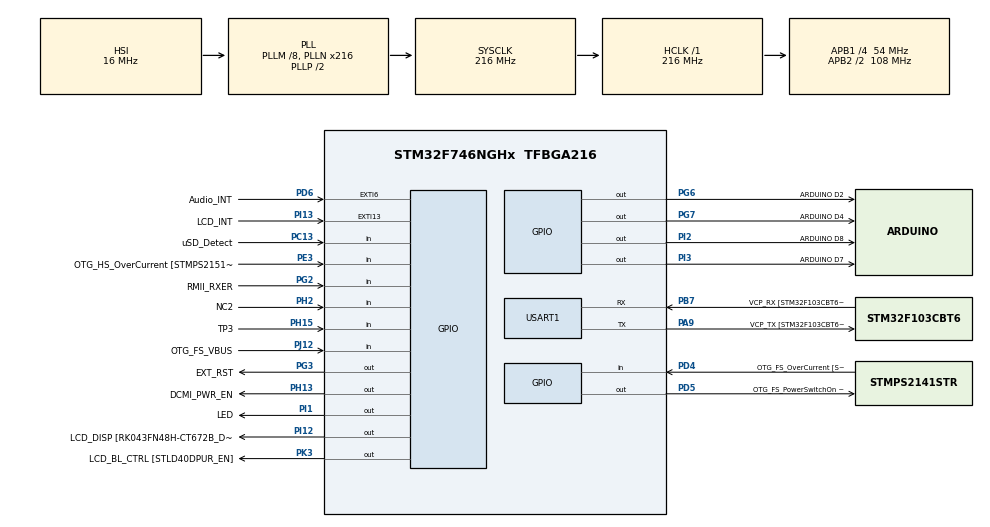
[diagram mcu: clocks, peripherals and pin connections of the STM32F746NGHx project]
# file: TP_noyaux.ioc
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FREERTOS.Tasks01=defaultTask,0,128,StartDefaultTask,Default,NULL,Dynamic,NULL,NULL
Mcu.Family=STM32F7
Mcu.Name=STM32F746NGHx
Mcu.Package=TFBGA216
NVIC.PriorityGroup=NVIC_PRIORITYGROUP_4
PA0/WKUP.GPIO_Label=ARDUINO A0
PA0/WKUP.GPIO_Mode=GPIO_MODE_ANALOG
PA0/WKUP.GPIO_PuPd=GPIO_NOPULL
PA0/WKUP.Signal=ADCx_IN0
PA1.GPIO_Label=RMII_REF_CLK [LAN8742A-CZ-TR_REFCLK0]
PA1.Signal=ETH_REF_CLK
PA10.GPIO_Label=OTG_FS_ID
PA10.Signal=USB_OTG_FS_ID
PA11.GPIO_Label=OTG_FS_N
PA11.Signal=USB_OTG_FS_DM
PA12.GPIO_Label=OTG_FS_P
PA12.Signal=USB_OTG_FS_DP
PA13.GPIO_Label=SWDIO
PA13.Mode=Serial_Wire
PA13.Signal=SYS_JTMS-SWDIO
PA14.GPIO_Label=SWCLK
PA14.Mode=Serial_Wire
PA14.Signal=SYS_JTCK-SWCLK
PA15.GPIO_Label=ARDUINO PWM/D9
PA15.GPIO_ModeDefaultPP=GPIO_MODE_AF_PP
PA15.GPIO_PuPd=GPIO_NOPULL
PA15.GPIO_Speed=GPIO_SPEED_FREQ_LOW
PA15.Signal=S_TIM2_CH1_ETR
PA2.GPIO_Label=RMII_MDIO [LAN8742A-CZ-TR_MDIO]
PA2.Signal=ETH_MDIO
PA3.GPIO_Label=ULPI_D0 [USB3320C-EZK_D0]
PA3.Signal=USB_OTG_HS_ULPI_D0
PA4.GPIO_Label=DCMI_HSYNC
PA4.Signal=DCMI_HSYNC
PA5.GPIO_Label=ULPI_CLK [USB3320C-EZK_CLKOUT]
PA5.Signal=USB_OTG_HS_ULPI_CK
PA6.Signal=DCMI_PIXCLK
PA7.GPIO_Label=RMII_CRS_DV [LAN8742A-CZ-TR_CRS_DV]
PA7.Signal=ETH_CRS_DV
PA8.GPIO_Label=ARDUINO PWM/D10
PA8.GPIO_ModeDefaultPP=GPIO_MODE_AF_PP
PA8.GPIO_PuPd=GPIO_NOPULL
PA8.GPIO_Speed=GPIO_SPEED_FREQ_LOW
PA8.Signal=S_TIM1_CH1
PA9.GPIO_Label=VCP_TX [STM32F103CBT6_PA3]
PA9.GPIO_Mode=GPIO_MODE_AF_PP
PA9.GPIO_PuPd=GPIO_NOPULL
PA9.GPIO_Speed=GPIO_SPEED_FREQ_LOW
PA9.Mode=Asynchronous
PA9.Signal=USART1_TX
PB0.GPIO_Label=ULPI_D1 [USB3320C-EZK_D1]
PB0.Signal=USB_OTG_HS_ULPI_D1
PB1.GPIO_Label=ULPI_D2 [USB3320C-EZK_D2]
PB1.Signal=USB_OTG_HS_ULPI_D2
PB10.GPIO_Label=ULPI_D3 [USB3320C-EZK_D3]
PB10.Signal=USB_OTG_HS_ULPI_D3
PB11.GPIO_Label=ULPI_D4 [USB3320C-EZK_D4]
PB11.Signal=USB_OTG_HS_ULPI_D4
PB12.GPIO_Label=ULPI_D5 [USB3320C-EZK_D5]
PB12.Signal=USB_OTG_HS_ULPI_D5
PB13.GPIO_Label=ULPI_D6 [USB3320C-EZK_D6]
PB13.Signal=USB_OTG_HS_ULPI_D6
PB14.GPIO_Label=ARDUINO MISO/D12
PB14.GPIO_Mode=GPIO_MODE_AF_PP
PB14.GPIO_PuPd=GPIO_NOPULL
PB14.GPIO_Speed=GPIO_SPEED_FREQ_LOW
PB14.Signal=SPI2_MISO
PB15.GPIO_Label=ARDUINO MOSI/PWM/D11
PB15.GPIO_Mode=GPIO_MODE_AF_PP
PB15.GPIO_PuPd=GPIO_NOPULL
PB15.GPIO_Speed=GPIO_SPEED_FREQ_LOW
PB15.Signal=SPI2_MOSI
PB2.Signal=QUADSPI_CLK
PB3.GPIO_Label=SWO
PB3.Signal=SYS_JTDO-SWO
PB4.GPIO_Label=ARDUINO PWM/D3
PB4.GPIO_ModeDefaultPP=GPIO_MODE_AF_PP
PB4.GPIO_PuPd=GPIO_NOPULL
PB4.GPIO_Speed=GPIO_SPEED_FREQ_LOW
PB4.Signal=S_TIM3_CH1
PB5.GPIO_Label=ULPI_D7 [USB3320C-EZK_D7]
PB5.Signal=USB_OTG_HS_ULPI_D7
PB6.GPIO_Label=QSPI_NCS [N25Q128A13EF840E_S]
PB6.Signal=QUADSPI_BK1_NCS
PB7.GPIO_Label=VCP_RX [STM32F103CBT6_PA2]
PB7.GPIO_Mode=GPIO_MODE_AF_PP
PB7.GPIO_PuPd=GPIO_NOPULL
PB7.GPIO_Speed=GPIO_SPEED_FREQ_LOW
PB7.Mode=Asynchronous
PB7.Signal=USART1_RX
PB8.GPIO_Label=ARDUINO SCL/D15
PB8.GPIO_Mode=GPIO_MODE_AF_OD
PB8.GPIO_PuPd=GPIO_NOPULL
PB8.GPIO_Speed=GPIO_SPEED_FREQ_LOW
PB8.Signal=I2C1_SCL
PB9.GPIO_Label=ARDUINO SDA/D14
PB9.GPIO_Mode=GPIO_MODE_AF_OD
PB9.GPIO_PuPd=GPIO_NOPULL
PB9.GPIO_Speed=GPIO_SPEED_FREQ_LOW
PB9.Signal=I2C1_SDA
PC0.GPIO_Label=ULPI_STP [USB3320C-EZK_STP]
PC0.Signal=USB_OTG_HS_ULPI_STP
PC1.GPIO_Label=RMII_MDC [LAN8742A-CZ-TR_MDC]
PC1.Signal=ETH_MDC
PC10.GPIO_Label=SDMMC_D2
PC10.Signal=SDMMC1_D2
PC11.GPIO_Label=SDMMC_D3
PC11.Signal=SDMMC1_D3
PC12.GPIO_Label=SDMMC_CK
PC12.Signal=SDMMC1_CK
PC13.GPIO_Label=uSD_Detect
PC13.Signal=GPIO_Input
PC14/OSC32_IN.GPIO_Label=RCC_OSC32_IN
PC14/OSC32_IN.Signal=RCC_OSC32_IN
PC15/OSC32_OUT.GPIO_Label=RCC_OSC32_OUT
PC15/OSC32_OUT.Signal=RCC_OSC32_OUT
PC2.GPIO_Label=ULPI_DIR [USB3320C-EZK_DIR]
PC2.Signal=USB_OTG_HS_ULPI_DIR
PC3.GPIO_Label=FMC_SDCKE0 [MT48LC4M32B2B5-6A_CKE]
PC3.Signal=FMC_SDCKE0
PC4.GPIO_Label=RMII_RXD0 [LAN8742A-CZ-TR_RXD0]
PC4.Signal=ETH_RXD0
PC5.GPIO_Label=RMII_RXD1 [LAN8742A-CZ-TR_RXD1]
PC5.Signal=ETH_RXD1
PC6.GPIO_Label=ARDUINO TX/D1
PC6.Signal=USART6_TX
PC7.GPIO_Label=ARDUINO RX/D0
PC7.Signal=USART6_RX
PC8.Signal=SDMMC1_D0
PC9.Signal=SDMMC1_D1
PD0.GPIO_Label=FMC_D2 [MT48LC4M32B2B5-6A_DQ2]
PD0.Signal=FMC_D2_DA2
PD1.GPIO_Label=FMC_D3 [MT48LC4M32B2B5-6A_DQ3]
PD1.Signal=FMC_D3_DA3
PD10.GPIO_Label=FMC_D15 [MT48LC4M32B2B5-6A_DQ15]
PD10.Signal=FMC_D15_DA15
PD11.GPIO_Label=QSPI_D0 [N25Q128A13EF840E_DQ0]
PD11.Signal=QUADSPI_BK1_IO0
PD12.GPIO_Label=QSPI_D1 [N25Q128A13EF840E_DQ1]
PD12.Signal=QUADSPI_BK1_IO1
PD13.GPIO_Label=QSPI_D3 [N25Q128A13EF840E_DQ3]
PD13.Signal=QUADSPI_BK1_IO3
PD14.GPIO_Label=FMC_D0 [MT48LC4M32B2B5-6A_DQ0]
PD14.Signal=FMC_D0_DA0
PD15.GPIO_Label=FMC_D1 [MT48LC4M32B2B5-6A_DQ1]
PD15.Signal=FMC_D1_DA1
PD2.GPIO_Label=SDMMC_D0
PD2.Signal=SDMMC1_CMD
PD3.GPIO_Label=DCMI_D5
PD3.Signal=DCMI_D5
PD4.GPIO_Label=OTG_FS_OverCurrent [STMPS2141STR_Fault]
PD4.Signal=GPIO_Input
PD5.GPIO_Label=OTG_FS_PowerSwitchOn [STMPS2141STR_EN]
PD5.PinState=GPIO_PIN_SET
PD5.Signal=GPIO_Output
PD6.GPIO_Label=Audio_INT
PD6.GPIO_ModeDefaultEXTI=GPIO_MODE_EVT_RISING
PD6.Signal=GPXTI6
PD7.GPIO_Label=SPDIF_RX0 [74LVC1G04SE_4]
PD7.Signal=SPDIFRX_IN0
PD8.GPIO_Label=FMC_D13 [MT48LC4M32B2B5-6A_DQ13]
PD8.Signal=FMC_D13_DA13
PD9.GPIO_Label=FMC_D14 [MT48LC4M32B2B5-6A_DQ14]
PD9.Signal=FMC_D14_DA14
PE0.GPIO_Label=FMC_NBL0 [MT48LC4M32B2B5-6A_DQM0]
PE0.Signal=FMC_NBL0
PE1.GPIO_Label=FMC_NBL1 [MT48LC4M32B2B5-6A_DQM1]
PE1.Signal=FMC_NBL1
PE10.GPIO_Label=FMC_D7 [MT48LC4M32B2B5-6A_DQ7]
PE10.Signal=FMC_D7_DA7
PE11.GPIO_Label=FMC_D8 [MT48LC4M32B2B5-6A_DQ8]
PE11.Signal=FMC_D8_DA8
PE12.GPIO_Label=FMC_D9 [MT48LC4M32B2B5-6A_DQ9]
PE12.Signal=FMC_D9_DA9
PE13.GPIO_Label=FMC_D10 [MT48LC4M32B2B5-6A_DQ10]
PE13.Signal=FMC_D10_DA10
PE14.GPIO_Label=FMC_D11 [MT48LC4M32B2B5-6A_DQ11]
PE14.Signal=FMC_D11_DA11
PE15.GPIO_Label=FMC_D12 [MT48LC4M32B2B5-6A_DQ12]
PE15.Signal=FMC_D12_DA12
PE2.GPIO_Label=QSPI_D2 [N25Q128A13EF840E_DQ2]
PE2.Signal=QUADSPI_BK1_IO2
PE3.GPIO_Label=OTG_HS_OverCurrent [STMPS2151STR_FAULT]
PE3.Signal=GPIO_Input
PE4.GPIO_Label=LCD_B0 [RK043FN48H-CT672B_B0]
PE4.Signal=LTDC_B0
PE5.GPIO_Label=DCMI_D6
PE5.Signal=DCMI_D6
PE6.GPIO_Label=DCMI_D7
PE6.Signal=DCMI_D7
PE7.GPIO_Label=FMC_D4 [MT48LC4M32B2B5-6A_DQ4]
PE7.Signal=FMC_D4_DA4
PE8.GPIO_Label=FMC_D5 [MT48LC4M32B2B5-6A_DQ5]
PE8.Signal=FMC_D5_DA5
PE9.GPIO_Label=FMC_D6 [MT48LC4M32B2B5-6A_DQ6]
PE9.Signal=FMC_D6_DA6
PF0.GPIO_Label=FMC_A0 [MT48LC4M32B2B5-6A_A0]
PF0.Signal=FMC_A0
PF1.GPIO_Label=FMC_A1 [MT48LC4M32B2B5-6A_A1]
PF1.Signal=FMC_A1
PF10.GPIO_Label=ARDUINO A1
PF10.GPIO_Mode=GPIO_MODE_ANALOG
PF10.GPIO_PuPd=GPIO_NOPULL
PF10.Signal=ADC3_IN8
PF11.GPIO_Label=FMC_SDNRAS [MT48LC4M32B2B5-6A_RAS]
PF11.Signal=FMC_SDNRAS
PF12.GPIO_Label=FMC_A6 [MT48LC4M32B2B5-6A_A6]
PF12.Signal=FMC_A6
PF13.GPIO_Label=FMC_A7 [MT48LC4M32B2B5-6A_A7]
PF13.Signal=FMC_A7
PF14.GPIO_Label=FMC_A8 [MT48LC4M32B2B5-6A_A8]
PF14.Signal=FMC_A8
PF15.GPIO_Label=FMC_A9 [MT48LC4M32B2B5-6A_A9]
PF15.Signal=FMC_A9
PF2.GPIO_Label=FMC_A2 [MT48LC4M32B2B5-6A_A2]
PF2.Signal=FMC_A2
PF3.GPIO_Label=FMC_A3 [MT48LC4M32B2B5-6A_A3]
PF3.Signal=FMC_A3
PF4.GPIO_Label=FMC_A4 [MT48LC4M32B2B5-6A_A4]
PF4.Signal=FMC_A4
PF5.GPIO_Label=FMC_A5 [MT48LC4M32B2B5-6A_A5]
PF5.Signal=FMC_A5
PF6.GPIO_Label=ARDUINO A5
PF6.GPIO_Mode=GPIO_MODE_ANALOG
PF6.GPIO_PuPd=GPIO_NOPULL
PF6.Signal=ADC3_IN4
PF7.GPIO_Label=ARDUINO A4
PF7.GPIO_Mode=GPIO_MODE_ANALOG
PF7.GPIO_PuPd=GPIO_NOPULL
PF7.Signal=ADC3_IN5
PF8.GPIO_Label=ARDUINO A3
PF8.GPIO_Mode=GPIO_MODE_ANALOG
PF8.GPIO_PuPd=GPIO_NOPULL
PF8.Signal=ADC3_IN6
PF9.GPIO_Label=ARDUINO A2
PF9.GPIO_Mode=GPIO_MODE_ANALOG
PF9.GPIO_PuPd=GPIO_NOPULL
PF9.Signal=ADC3_IN7
PG0.GPIO_Label=FMC_A10 [MT48LC4M32B2B5-6A_A10]
PG0.Signal=FMC_A10
PG1.GPIO_Label=FMC_A11 [MT48LC4M32B2B5-6A_A11]
PG1.Signal=FMC_A11
PG10.GPIO_Label=SAI2_SDB [WM8994ECS/R_ADCDAT1]
PG10.Signal=SAI2_SD_B
PG11.GPIO_Label=RMII_TX_EN [LAN8742A-CZ-TR_TXEN]
PG11.Signal=ETH_TX_EN
PG12.GPIO_Label=LCD_B4 [RK043FN48H-CT672B_B4]
PG12.Signal=LTDC_B4
PG13.GPIO_Label=RMII_TXD0 [LAN8742A-CZ-TR_TXD0]
PG13.Signal=ETH_TXD0
PG14.GPIO_Label=RMII_TXD1 [LAN8742A-CZ-TR_TXD1]
PG14.Signal=ETH_TXD1
PG15.GPIO_Label=FMC_SDNCAS [MT48LC4M32B2B5-6A_CAS]
PG15.Signal=FMC_SDNCAS
PG2.GPIO_Label=RMII_RXER
PG2.Signal=GPIO_Input
PG3.GPIO_Label=EXT_RST
PG3.Signal=GPIO_Output
PG4.GPIO_Label=FMC_BA0 [MT48LC4M32B2B5-6A_BA0]
PG4.Signal=FMC_A14_BA0
PG5.GPIO_Label=FMC_BA1 [MT48LC4M32B2B5-6A_BA1]
PG5.Signal=FMC_A15_BA1
PG6.GPIO_Label=ARDUINO D2
PG6.Signal=GPIO_Output
PG7.GPIO_Label=ARDUINO D4
PG7.Signal=GPIO_Output
PG8.GPIO_Label=FMC_SDCLK [MT48LC4M32B2B5-6A_CLK]
PG8.Signal=FMC_SDCLK
PG9.GPIO_Label=DCMI_VSYNC
PG9.Signal=DCMI_VSYNC
PH0/OSC_IN.GPIO_Label=OSC_25M [NZ2520SB-25.00M_OUT]
PH0/OSC_IN.Mode=HSE-External-Oscillator
PH0/OSC_IN.Signal=RCC_OSC_IN
PH1/OSC_OUT.Mode=HSE-External-Oscillator
PH1/OSC_OUT.Signal=RCC_OSC_OUT
PH10.GPIO_Label=DCMI_D1
PH10.Signal=DCMI_D1
PH11.GPIO_Label=DCMI_D2
PH11.Signal=DCMI_D2
PH12.GPIO_Label=DCMI_D3
PH12.Signal=DCMI_D3
PH13.GPIO_Label=DCMI_PWR_EN
PH13.Signal=GPIO_Output
PH14.GPIO_Label=DCMI_D4
PH14.Signal=DCMI_D4
PH15.GPIO_Label=TP3
PH15.Signal=GPIO_Input
PH2.GPIO_Label=NC2
PH2.Signal=GPIO_Input
PH3.GPIO_Label=FMC_SDNE0 [MT48LC4M32B2B5-6A_CS]
PH3.Signal=FMC_SDNE0
PH4.GPIO_Label=ULPI_NXT [USB3320C-EZK_NXT]
PH4.Signal=USB_OTG_HS_ULPI_NXT
PH5.GPIO_Label=FMC_SDNME [MT48LC4M32B2B5-6A_WE]
PH5.Signal=FMC_SDNWE
PH6.GPIO_Label=ARDUINO PWM/D6
PH6.Signal=S_TIM12_CH1
PH7.GPIO_Label=LCD_SCL [RK043FN48H-CT672B_SCL]
PH7.Signal=I2C3_SCL
PH8.GPIO_Label=LCD_SDA [RK043FN48H-CT672B_SDA]
PH8.Signal=I2C3_SDA
PH9.GPIO_Label=DCMI_D0
PH9.Signal=DCMI_D0
PI0.GPIO_Label=ARDUINO PWM/CS/D5
PI0.GPIO_ModeDefaultPP=GPIO_MODE_AF_PP
PI0.GPIO_PuPd=GPIO_NOPULL
PI0.GPIO_Speed=GPIO_SPEED_FREQ_LOW
PI0.Signal=S_TIM5_CH4
PI1.GPIO_Label=LED
PI1.Signal=GPIO_Output
PI10.GPIO_Label=LCD_HSYNC [RK043FN48H-CT672B_HSYNC]
PI10.Signal=LTDC_HSYNC
PI12.GPIO_Label=LCD_DISP [RK043FN48H-CT672B_DISP] 
PI12.Signal=GPIO_Output
PI13.GPIO_Label=LCD_INT
PI13.GPIO_ModeDefaultEXTI=GPIO_MODE_EVT_RISING
PI13.Signal=GPXTI13
PI14.GPIO_Label=LCD_CLK [RK043FN48H-CT672B_CLK]
PI14.Signal=LTDC_CLK
PI15.GPIO_Label=LCD_R0 [RK043FN48H-CT672B_R0]
PI15.Signal=LTDC_R0
PI2.GPIO_Label=ARDUINO D8
PI2.Signal=GPIO_Output
PI3.GPIO_Label=ARDUINO D7
PI3.Signal=GPIO_Output
PI4.GPIO_Label=SAI2_MCLKA [WM8994ECS/R_MCLK1]
PI4.Signal=SAI2_MCLK_A
PI5.GPIO_Label=SAI2_SCKA [WM8994ECS/R_BCLK1]
PI5.Signal=SAI2_SCK_A
PI6.GPIO_Label=SAI2_SDA [WM8994ECS/R_DACDAT1]
PI6.Signal=SAI2_SD_A
PI7.GPIO_Label=SAI2_FSA [WM8994ECS/R_LRCLK1]
PI7.Signal=SAI2_FS_A
PI8.GPIO_Label=NC1 [TP2]
PI8.Signal=RTC_TS
PI9.GPIO_Label=LCD_VSYNC [RK043FN48H-CT672B_VSYNC]
PI9.Signal=LTDC_VSYNC
PJ0.GPIO_Label=LCD_R1 [RK043FN48H-CT672B_R1]
PJ0.Signal=LTDC_R1
PJ1.GPIO_Label=LCD_R2 [RK043FN48H-CT672B_R2]
PJ1.Signal=LTDC_R2
PJ10.GPIO_Label=LCD_G3 [RK043FN48H-CT672B_G3]
PJ10.Signal=LTDC_G3
PJ11.GPIO_Label=LCD_G4 [RK043FN48H-CT672B_G4]
PJ11.Signal=LTDC_G4
PJ12.GPIO_Label=OTG_FS_VBUS
PJ12.Signal=GPIO_Input
PJ13.GPIO_Label=LCD_B1 [RK043FN48H-CT672B_B1]
PJ13.Signal=LTDC_B1
PJ14.GPIO_Label=LCD_B2 [RK043FN48H-CT672B_B2]
PJ14.Signal=LTDC_B2
PJ15.GPIO_Label=LCD_B3 [RK043FN48H-CT672B_B3]
PJ15.Signal=LTDC_B3
PJ2.GPIO_Label=LCD_R3 [RK043FN48H-CT672B_R3]
PJ2.Signal=LTDC_R3
PJ3.GPIO_Label=LCD_R4 [RK043FN48H-CT672B_R4]
PJ3.Signal=LTDC_R4
PJ4.GPIO_Label=LCD_R5 [RK043FN48H-CT672B_R5]
PJ4.Signal=LTDC_R5
PJ5.GPIO_Label=LCD_R6 [RK043FN48H-CT672B_R6]
PJ5.Signal=LTDC_R6
PJ6.GPIO_Label=LCD_R7 [RK043FN48H-CT672B_R7]
PJ6.Signal=LTDC_R7
PJ7.GPIO_Label=LCD_G0 [RK043FN48H-CT672B_G0]
PJ7.Signal=LTDC_G0
PJ8.GPIO_Label=LCD_G1 [RK043FN48H-CT672B_G1]
PJ8.Signal=LTDC_G1
PJ9.GPIO_Label=LCD_G2 [RK043FN48H-CT672B_G2]
PJ9.Signal=LTDC_G2
PK0.GPIO_Label=LCD_G5 [RK043FN48H-CT672B_G5]
PK0.Signal=LTDC_G5
PK1.GPIO_Label=LCD_G6 [RK043FN48H-CT672B_G6]
PK1.Signal=LTDC_G6
PK2.GPIO_Label=LCD_G7 [RK043FN48H-CT672B_G7]
PK2.Signal=LTDC_G7
PK3.GPIO_Label=LCD_BL_CTRL [STLD40DPUR_EN]
PK3.Signal=GPIO_Output
PK4.GPIO_Label=LCD_B5 [RK043FN48H-CT672B_B5]
PK4.Signal=LTDC_B5
PK5.GPIO_Label=LCD_B6 [RK043FN48H-CT672B_B6]
PK5.Signal=LTDC_B6
PK6.GPIO_Label=LCD_B7 [RK043FN48H-CT672B_B7]
PK6.Signal=LTDC_B7
PK7.GPIO_Label=LCD_DE [RK043FN48H-CT672B_DE]
PK7.Signal=LTDC_DE
ProjectManager.HeapSize=0x200
ProjectManager.StackSize=0x400
ProjectManager.TargetToolchain=STM32CubeIDE
RCC.AHBFreq_Value=216000000
RCC.APB1CLKDivider=RCC_HCLK_DIV4
RCC.APB1Freq_Value=54000000
RCC.APB1TimFreq_Value=108000000
RCC.APB2CLKDivider=RCC_HCLK_DIV2
RCC.APB2Freq_Value=108000000
RCC.APB2TimFreq_Value=216000000
RCC.CortexFreq_Value=216000000
RCC.HCLKFreq_Value=216000000
RCC.HSE_VALUE=25000000
RCC.HSI_VALUE=16000000
RCC.LSE_VALUE=32768
RCC.PLLM=8
RCC.PLLN=216
RCC.PLLSourceVirtual=RCC_PLLSOURCE_HSI
RCC.SYSCLKFreq_VALUE=216000000
RCC.SYSCLKSource=RCC_SYSCLKSOURCE_PLLCLK
RCC.USBFreq_Value=216000000
RCC.VCOOutputFreq_Value=432000000
SH.ADCx_IN0.0=ADC3_IN0
SH.FMC_A0.0=FMC_A0
SH.FMC_A1.0=FMC_A1
SH.FMC_A10.0=FMC_A10
SH.FMC_A11.0=FMC_A11
SH.FMC_A14_BA0.0=FMC_BA0
SH.FMC_A15_BA1.0=FMC_BA1
SH.FMC_A2.0=FMC_A2
SH.FMC_A3.0=FMC_A3
SH.FMC_A4.0=FMC_A4
SH.FMC_A5.0=FMC_A5
SH.FMC_A6.0=FMC_A6
SH.FMC_A7.0=FMC_A7
SH.FMC_A8.0=FMC_A8
SH.FMC_A9.0=FMC_A9
SH.FMC_D0_DA0.0=FMC_D0
SH.FMC_D10_DA10.0=FMC_D10
SH.FMC_D11_DA11.0=FMC_D11
SH.FMC_D12_DA12.0=FMC_D12
SH.FMC_D13_DA13.0=FMC_D13
SH.FMC_D14_DA14.0=FMC_D14
SH.FMC_D15_DA15.0=FMC_D15
SH.FMC_D1_DA1.0=FMC_D1
SH.FMC_D2_DA2.0=FMC_D2
SH.FMC_D3_DA3.0=FMC_D3
SH.FMC_D4_DA4.0=FMC_D4
SH.FMC_D5_DA5.0=FMC_D5
SH.FMC_D6_DA6.0=FMC_D6
SH.FMC_D7_DA7.0=FMC_D7
SH.FMC_D8_DA8.0=FMC_D8
SH.FMC_D9_DA9.0=FMC_D9
SH.FMC_NBL0.0=FMC_NBL0
SH.FMC_NBL1.0=FMC_NBL1
SH.FMC_SDCLK.0=FMC_SDCLK
SH.FMC_SDNCAS.0=FMC_SDNCAS
SH.FMC_SDNRAS.0=FMC_SDNRAS
SH.FMC_SDNWE.0=FMC_SDNWE
SH.S_TIM12_CH1.0=TIM12_CH1
SH.S_TIM1_CH1.0=TIM1_CH1
SH.S_TIM2_CH1_ETR.0=TIM2_CH1
SH.S_TIM3_CH1.0=TIM3_CH1
SH.S_TIM5_CH4.0=TIM5_CH4
USART1.VirtualMode-Asynchronous=VM_ASYNC
VP_FREERTOS_VS_CMSIS_V1.Mode=CMSIS_V1
board=STM32F746G-DISCO

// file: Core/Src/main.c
/* USER CODE BEGIN Header */
/**
 ******************************************************************************
 * @file           : main.c
 * @brief          : Main program body
 ******************************************************************************
 * @attention
 *
 * Copyright (c) 2022 STMicroelectronics.
 * All rights reserved.
 *
 * This software is licensed under terms that can be found in the LICENSE file
 * in the root directory of this software component.
 * If no LICENSE file comes with this software, it is provided AS-IS.
 *
 ******************************************************************************
 */
/* USER CODE END Header */
#include "main.h"
#include "cmsis_os.h"
#include "usart.h"
#include "gpio.h"

/* USER CODE BEGIN Includes */
#include "stdio.h"
/* USER CODE END Includes */

/* USER CODE BEGIN PD */
#define TASK_LED_STACK_DEPTH 512
#define TASK_LED_PRIORITY 1
#define Q_WAIT_LENGTH 1
#define Q_WAIT_SIZE 4
/* USER CODE END PD */

/* USER CODE BEGIN PV */
TaskHandle_t h_task_led = NULL;
TaskHandle_t h_task_give = NULL;
TaskHandle_t h_task_take = NULL;
SemaphoreHandle_t sem1 ;
QueueHandle_t q_wait = NULL;
int wait=100;
/* USER CODE END PV */

void SystemClock_Config(void);
void MX_FREERTOS_Init(void);

/* USER CODE BEGIN 0 */
int __io_putchar(int ch)
{
	HAL_UART_Transmit(&huart1, (uint8_t*)&ch, 1, HAL_MAX_DELAY);

	return ch;
}

void task_led(void * unused)
{
	while (1)
	{
		HAL_GPIO_TogglePin(LED_GPIO_Port, LED_Pin);
		printf ("LED State is changed\r\n");
		vTaskDelay(100);
	}
}
/* Semaphores */
//void taskGive(void * unused)
//{
//	while (1)
//	{
//		printf("taskGive: donne sem: wait=%d\r\n",wait);
//		xSemaphoreGive(sem1);
//		printf("taskGive: sem donné: wait=%d\r\n",wait);
//		vTaskDelay(wait);
//		wait+=100;
//	}
//}
//void taskTake(void * unused)
//{
//	while (1)
//	{
//		printf("taskTake: prend sem: wait=%d\r\n",wait);
//		if (xSemaphoreTake(sem1, 1000)==pdFALSE)
//		{
//			printf("timeout, reset\r\n");
//			NVIC_SystemReset();
//		}
//		printf("taskTake: sem pris: wait=%d\r\n",wait);
//		//vTaskDelay(100);
//	}
//}

/* Notifications */
//void taskGive(void * unused)
//{
//	while (1)
//	{
//		printf("taskGive: donne sem: wait=%d\r\n",wait);
//		xTaskNotifyGive(h_task_take);
//		printf("taskGive: sem donné: wait=%d\r\n",wait);
//		vTaskDelay(wait);
//		wait+=100;
//
//	}
//}
//void taskTake(void * unused)
//{
//	int wait_take;
//	while (1)
//	{
//		printf("taskTake: prend sem: wait=%d\r\n",wait);
//		if (ulTaskNotifyTake(pdTRUE, 1000)==pdFALSE)
//		{
//			printf("timeout, reset\r\n");
//			NVIC_SystemReset();
//		}
//		printf("taskTake: sem pris: wait=%d\r\n",wait);
//		//vTaskDelay(100);
//	}
//}

/* Queue */
void taskGive(void * unused)
{
	int wait_give=100;
	while (1)
	{
		printf("taskGive: send queue: wait=%d\r\n",wait_give);
		if(xQueueSend(q_wait, &wait_give,portMAX_DELAY)==errQUEUE_FULL)
		{
			printf("Queue is full\r\n");
		}
		printf("taskGive: queue sent: wait=%d\r\n",wait_give);
		vTaskDelay(wait_give);
		wait_give+=100;

	}
}
void taskTake(void * unused)
{
	int wait_take=0;
	while (1)
	{
		printf("taskTake: receive queue: wait=%d\r\n",wait_take);
		if(xQueueReceive(q_wait, (void *)&wait_take,1000)==pdFALSE)
		{
			printf("timeout, reset\r\n");
			NVIC_SystemReset();
		}
		printf("taskTake: queue received: wait=%d\r\n",wait_take);
		//vTaskDelay(100);
	}
}

/* USER CODE END 0 */

int main(void)
{

	/* MCU Configuration--------------------------------------------------------*/

	/* Reset of all peripherals, Initializes the Flash interface and the Systick. */
	HAL_Init();

	/* Configure the system clock */
	SystemClock_Config();

	/* Initialize all configured peripherals */
	MX_GPIO_Init();
	MX_USART1_UART_Init();
	/* USER CODE BEGIN 2 */
	sem1 = xSemaphoreCreateBinary();

//	if (xTaskCreate(task_led, "LED", TASK_LED_STACK_DEPTH, NULL, TASK_LED_PRIORITY, &h_task_led) != pdPASS)
//	{
//		printf("Error creating task shell\r\n");
//		Error_Handler();
//	}
	q_wait = xQueueCreate(Q_WAIT_LENGTH, Q_WAIT_SIZE);
	if (xTaskCreate(taskGive, "taskGive", TASK_LED_STACK_DEPTH, NULL, 2, &h_task_give) != pdPASS)
		{
			printf("Error creating task shell\r\n");
			Error_Handler();
		}
	if (xTaskCreate(taskTake, "taskTake", TASK_LED_STACK_DEPTH, NULL, 3, &h_task_take) != pdPASS)
		{
			printf("Error creating task shell\r\n");
			Error_Handler();
		}

	vTaskStartScheduler();
	/* USER CODE END 2 */

	/* Call init function for freertos objects (in freertos.c) */
	MX_FREERTOS_Init();

	/* Start scheduler */
	osKernelStart();

	/* We should never get here as control is now taken by the scheduler */
	/* Infinite loop */
	while (1)
	{

	}
}

void SystemClock_Config(void)
{
	RCC_OscInitTypeDef RCC_OscInitStruct = {0};
	RCC_ClkInitTypeDef RCC_ClkInitStruct = {0};

	/** Configure the main internal regulator output voltage
	 */
	__HAL_RCC_PWR_CLK_ENABLE();
	__HAL_PWR_VOLTAGESCALING_CONFIG(PWR_REGULATOR_VOLTAGE_SCALE1);

	/** Initializes the RCC Oscillators according to the specified parameters
	 * in the RCC_OscInitTypeDef structure.
	 */
	RCC_OscInitStruct.OscillatorType = RCC_OSCILLATORTYPE_HSI;
	RCC_OscInitStruct.HSIState = RCC_HSI_ON;
	RCC_OscInitStruct.HSICalibrationValue = RCC_HSICALIBRATION_DEFAULT;
	RCC_OscInitStruct.PLL.PLLState = RCC_PLL_ON;
	RCC_OscInitStruct.PLL.PLLSource = RCC_PLLSOURCE_HSI;
	RCC_OscInitStruct.PLL.PLLM = 8;
	RCC_OscInitStruct.PLL.PLLN = 216;
	RCC_OscInitStruct.PLL.PLLP = RCC_PLLP_DIV2;
	RCC_OscInitStruct.PLL.PLLQ = 2;
	if (HAL_RCC_OscConfig(&RCC_OscInitStruct) != HAL_OK)
	{
		Error_Handler();
	}

	/** Activate the Over-Drive mode
	 */
	if (HAL_PWREx_EnableOverDrive() != HAL_OK)
	{
		Error_Handler();
	}

	/** Initializes the CPU, AHB and APB buses clocks
	 */
	RCC_ClkInitStruct.ClockType = RCC_CLOCKTYPE_HCLK|RCC_CLOCKTYPE_SYSCLK
			|RCC_CLOCKTYPE_PCLK1|RCC_CLOCKTYPE_PCLK2;
	RCC_ClkInitStruct.SYSCLKSource = RCC_SYSCLKSOURCE_PLLCLK;
	RCC_ClkInitStruct.AHBCLKDivider = RCC_SYSCLK_DIV1;
	RCC_ClkInitStruct.APB1CLKDivider = RCC_HCLK_DIV4;
	RCC_ClkInitStruct.APB2CLKDivider = RCC_HCLK_DIV2;

	if (HAL_RCC_ClockConfig(&RCC_ClkInitStruct, FLASH_LATENCY_7) != HAL_OK)
	{
		Error_Handler();
	}
}

void Error_Handler(void)
{
	__disable_irq();
	while (1)
	{
	}
}
